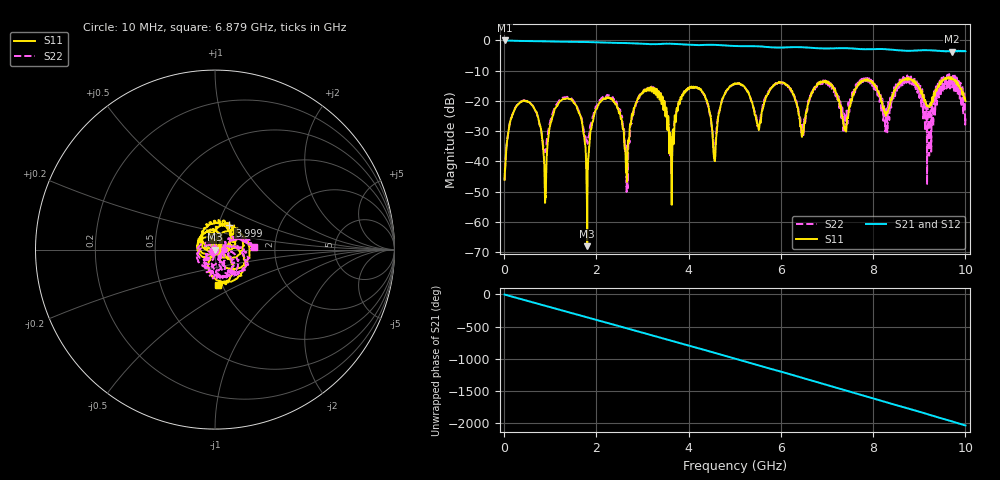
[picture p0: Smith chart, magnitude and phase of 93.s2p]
!Keysight Technologies,E5080B,MY59205177,A.15.75.32
!Date: Friday, February 23, 2024 03:34:53
!Correction: S11(Cdelta 2-Port  )
!S21(Cdelta 2-Port  )
!S12(Cdelta 2-Port  )
!S22(Cdelta 2-Port  )
!S2P File: Measurements: S11, S21, S12, S22:
# Hz S  dB  R 50
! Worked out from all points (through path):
!   10001 points, 10 MHz to 10 GHz, reference 50 ohm
!   highest |S21| = -0.01 dB at 14 MHz (marker M1); lowest = -3.7 dB at 9.701 GHz (marker M2)
!   group delay of S21, straight-line fit = 565 ps
!   lowest |S11| = -68.0 dB at 1.8 GHz (marker M3), VSWR 1.00, Z = 50 - j0.0395 ohm
!   |S11| at or under -10 dB: start of sweep to end of sweep
!   |S22| runs from -50.1 to -11.1 dB; largest |S21 - S12| = 0.0015
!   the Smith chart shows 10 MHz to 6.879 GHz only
!   S11 on the Smith chart (normalised r, x): 10 MHz: 1.01, -0.00; 3.999 GHz: 1.13, +0.31; 6.879 GHz: 0.96, -0.40
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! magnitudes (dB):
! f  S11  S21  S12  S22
! 10 MHz  -46.1  0.0  0.0  -45.9
! 14 MHz  -43.3  0.0  0.0  -45.5
! 374.6 MHz  -20.2  -0.2  -0.2  -20.1
! 888.1 MHz  -53.1  -0.3  -0.3  -36.8
! 1.178 GHz  -20.8  -0.4  -0.4  -20.2
! 1.675 GHz  -26.1  -0.5  -0.5  -25.6
! 1.8 GHz  -68.0  -0.5  -0.5  -33.2
! 2.109 GHz  -19.9  -0.7  -0.7  -19.0
! 2.662 GHz  -46.4  -0.9  -0.9  -43.6
! 2.892 GHz  -19.3  -1.0  -1.0  -20.1
! 3.341 GHz  -17.4  -1.2  -1.2  -17.7
! 3.627 GHz  -47.2  -1.1  -1.1  -42.1
! 3.999 GHz  -16.1  -1.4  -1.4  -15.9
! 4.561 GHz  -39.5  -1.5  -1.5  -38.4
! 5.005 GHz  -14.2  -1.9  -1.8  -14.5
! 5.517 GHz  -29.4  -2.0  -2.0  -28.4
! 6.67 GHz  -17.3  -2.4  -2.4  -16.9
! 6.879 GHz  -13.9  -2.6  -2.6  -13.3
! 7.385 GHz  -29.5  -2.6  -2.6  -26.0
! 8.336 GHz  -22.7  -3.0  -3.0  -20.9
! 9.701 GHz  -12.2  -3.7  -3.7  -13.8
! 10 GHz  -20.0  -3.6  -3.6  -25.5
